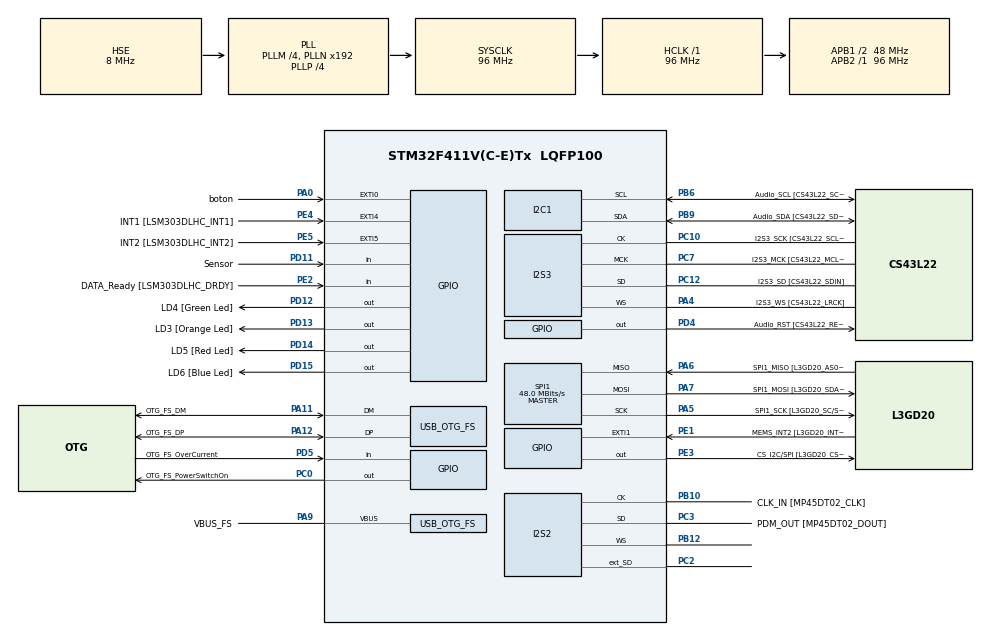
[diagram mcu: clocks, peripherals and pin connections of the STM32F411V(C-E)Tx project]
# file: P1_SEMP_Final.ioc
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I2S2.AudioFreq=I2S_AUDIOFREQ_96K
I2S2.ErrorAudioFreq=0.15 %
I2S2.FullDuplexMode=I2S_FULLDUPLEXMODE_ENABLE
I2S2.Instance=SPI$Index
I2S2.RealAudioFreq=96.153 KHz
I2S2.VirtualMode=I2S_MODE_MASTER
I2S3.AudioFreq=I2S_AUDIOFREQ_96K
I2S3.ErrorAudioFreq=-6.99 %
I2S3.FullDuplexMode=I2S_FULLDUPLEXMODE_DISABLE
I2S3.Instance=SPI$Index
I2S3.RealAudioFreq=89.285 KHz
I2S3.VirtualMode=I2S_MODE_MASTER
Mcu.Family=STM32F4
Mcu.Name=STM32F411V(C-E)Tx
Mcu.Package=LQFP100
NVIC.EXTI0_IRQn=true\:0\:0\:false\:false\:true\:true\:true\:true
NVIC.OTG_FS_IRQn=true\:0\:0\:false\:false\:true\:true\:true\:true
NVIC.PVD_IRQn=true\:0\:0\:false\:false\:true\:true\:true\:true
NVIC.PriorityGroup=NVIC_PRIORITYGROUP_0
NVIC.TIM2_IRQn=true\:0\:0\:false\:false\:true\:true\:true\:true
NVIC.TIM3_IRQn=true\:0\:0\:false\:false\:true\:true\:true\:true
PA0-WKUP.GPIO_Label=boton
PA0-WKUP.Signal=GPXTI0
PA10.GPIO_Label=OTG_FS_ID
PA10.Signal=USB_OTG_FS_ID
PA11.GPIO_Label=OTG_FS_DM
PA11.Mode=Host_Only
PA11.Signal=USB_OTG_FS_DM
PA12.GPIO_Label=OTG_FS_DP
PA12.Mode=Host_Only
PA12.Signal=USB_OTG_FS_DP
PA13.GPIO_Label=SWDIO
PA13.Mode=Serial_Wire
PA13.Signal=SYS_JTMS-SWDIO
PA14.GPIO_Label=SWCLK
PA14.Mode=Serial_Wire
PA14.Signal=SYS_JTCK-SWCLK
PA4.GPIO_Label=I2S3_WS [CS43L22_LRCK]
PA4.GPIO_Mode=GPIO_MODE_AF_PP
PA4.GPIO_PuPd=GPIO_NOPULL
PA4.GPIO_Speed=GPIO_SPEED_FREQ_LOW
PA4.Mode=Half_Duplex_Master
PA4.Signal=I2S3_WS
PA5.GPIO_Label=SPI1_SCK [L3GD20_SC/SPC]
PA5.Mode=Full_Duplex_Master
PA5.Signal=SPI1_SCK
PA6.GPIO_Label=SPI1_MISO [L3GD20_AS0/SDO]
PA6.Mode=Full_Duplex_Master
PA6.Signal=SPI1_MISO
PA7.GPIO_Label=SPI1_MOSI [L3GD20_SDA/SDI/SDO]
PA7.Mode=Full_Duplex_Master
PA7.Signal=SPI1_MOSI
PA9.GPIO_Label=VBUS_FS
PA9.Mode=Activate_VBUS
PA9.Signal=USB_OTG_FS_VBUS
PB10.GPIO_Label=CLK_IN [MP45DT02_CLK]
PB10.Mode=Full_Duplex_Master
PB10.Signal=I2S2_CK
PB12.Mode=Full_Duplex_Master
PB12.Signal=I2S2_WS
PB3.GPIO_Label=SWO
PB3.Signal=SYS_JTDO-SWO
PB6.GPIO_Label=Audio_SCL [CS43L22_SCL]
PB6.GPIO_Mode=GPIO_MODE_AF_OD
PB6.GPIO_Pu=GPIO_PULLUP
PB6.GPIO_PuPd=GPIO_NOPULL
PB6.GPIO_Speed=GPIO_SPEED_FREQ_LOW
PB6.Mode=I2C
PB6.Signal=I2C1_SCL
PB9.GPIO_Label=Audio_SDA [CS43L22_SDA]
PB9.GPIO_Mode=GPIO_MODE_AF_OD
PB9.GPIO_Pu=GPIO_PULLUP
PB9.GPIO_PuPd=GPIO_NOPULL
PB9.GPIO_Speed=GPIO_SPEED_FREQ_LOW
PB9.Mode=I2C
PB9.Signal=I2C1_SDA
PC0.GPIO_Label=OTG_FS_PowerSwitchOn
PC0.PinState=GPIO_PIN_SET
PC0.Signal=GPIO_Output
PC10.GPIO_Label=I2S3_SCK [CS43L22_SCLK]
PC10.GPIO_Mode=GPIO_MODE_AF_PP
PC10.GPIO_PuPd=GPIO_NOPULL
PC10.GPIO_Speed=GPIO_SPEED_FREQ_LOW
PC10.Mode=Half_Duplex_Master
PC10.Signal=I2S3_CK
PC12.GPIO_Label=I2S3_SD [CS43L22_SDIN]
PC12.GPIO_Mode=GPIO_MODE_AF_PP
PC12.GPIO_PuPd=GPIO_NOPULL
PC12.GPIO_Speed=GPIO_SPEED_FREQ_LOW
PC12.Mode=Half_Duplex_Master
PC12.Signal=I2S3_SD
PC14-OSC32_IN.GPIO_Label=PC14-OSC32_IN
PC14-OSC32_IN.Mode=LSE-External-Oscillator
PC14-OSC32_IN.Signal=RCC_OSC32_IN
PC15-OSC32_OUT.GPIO_Label=PC15-OSC32_OUT
PC15-OSC32_OUT.Mode=LSE-External-Oscillator
PC15-OSC32_OUT.Signal=RCC_OSC32_OUT
PC2.Mode=Full_Duplex_Master
PC2.Signal=I2S2_ext_SD
PC3.GPIO_Label=PDM_OUT [MP45DT02_DOUT]
PC3.Mode=Full_Duplex_Master
PC3.Signal=I2S2_SD
PC7.GPIO_Label=I2S3_MCK [CS43L22_MCLK]
PC7.GPIO_Mode=GPIO_MODE_AF_PP
PC7.GPIO_PuPd=GPIO_NOPULL
PC7.GPIO_Speed=GPIO_SPEED_FREQ_LOW
PC7.Mode=Master_Clock_Activated
PC7.Signal=I2S3_MCK
PD11.GPIO_Label=Sensor
PD11.Signal=GPIO_Input
PD12.GPIO_Label=LD4 [Green Led]
PD12.GPIO_PuPd=GPIO_NOPULL
PD12.GPIO_Speed=GPIO_SPEED_FREQ_LOW
PD12.Signal=GPIO_Output
PD13.GPIO_Label=LD3 [Orange Led]
PD13.GPIO_PuPd=GPIO_NOPULL
PD13.GPIO_Speed=GPIO_SPEED_FREQ_LOW
PD13.Signal=GPIO_Output
PD14.GPIO_Label=LD5 [Red Led]
PD14.GPIO_PuPd=GPIO_NOPULL
PD14.GPIO_Speed=GPIO_SPEED_FREQ_LOW
PD14.Signal=GPIO_Output
PD15.GPIO_Label=LD6 [Blue Led]
PD15.GPIO_PuPd=GPIO_NOPULL
PD15.GPIO_Speed=GPIO_SPEED_FREQ_LOW
PD15.Signal=GPIO_Output
PD4.GPIO_Label=Audio_RST [CS43L22_RESET]
PD4.Signal=GPIO_Output
PD5.GPIO_Label=OTG_FS_OverCurrent
PD5.Signal=GPIO_Input
PE1.GPIO_Label=MEMS_INT2 [L3GD20_INT2]
PE1.GPIO_ModeDefaultEXTI=GPIO_MODE_EVT_RISING
PE1.Signal=GPXTI1
PE2.GPIO_Label=DATA_Ready [LSM303DLHC_DRDY]
PE2.Signal=GPIO_Input
PE3.GPIO_Label=CS_I2C/SPI [L3GD20_CS_I2C/SPI]
PE3.Signal=GPIO_Output
PE4.GPIO_Label=INT1 [LSM303DLHC_INT1]
PE4.GPIO_ModeDefaultEXTI=GPIO_MODE_EVT_RISING
PE4.Signal=GPXTI4
PE5.GPIO_Label=INT2 [LSM303DLHC_INT2]
PE5.GPIO_ModeDefaultEXTI=GPIO_MODE_EVT_RISING
PE5.Signal=GPXTI5
PH0\ -\ OSC_IN.GPIO_Label=PH0-OSC_IN
PH0\ -\ OSC_IN.Mode=HSE-External-Oscillator
PH0\ -\ OSC_IN.Signal=RCC_OSC_IN
PH1\ -\ OSC_OUT.GPIO_Label=PH1-OSC_OUT
PH1\ -\ OSC_OUT.Mode=HSE-External-Oscillator
PH1\ -\ OSC_OUT.Signal=RCC_OSC_OUT
ProjectManager.HeapSize=0x200
ProjectManager.StackSize=0x400
ProjectManager.TargetToolchain=STM32CubeIDE
RCC.48MHZClocksFreq_Value=48000000
RCC.AHBFreq_Value=96000000
RCC.APB1CLKDivider=RCC_HCLK_DIV2
RCC.APB1Freq_Value=48000000
RCC.APB1TimFreq_Value=96000000
RCC.APB2Freq_Value=96000000
RCC.APB2TimFreq_Value=96000000
RCC.CortexFreq_Value=96000000
RCC.HCLKFreq_Value=96000000
RCC.HSE_Timout=1000
RCC.HSE_VALUE=8000000
RCC.HSI_VALUE=16000000
RCC.PLLI2SM=5
RCC.PLLI2SN=200
RCC.PLLM=4
RCC.PLLP=RCC_PLLP_DIV4
RCC.PLLQ=8
RCC.SYSCLKFreq_VALUE=96000000
RCC.SYSCLKSource=RCC_SYSCLKSOURCE_PLLCLK
RCC.VCOOutputFreq_Value=384000000
SPI1.BaudRatePrescaler=SPI_BAUDRATEPRESCALER_2
SPI1.CalculateBaudRate=48.0 MBits/s
SPI1.Direction=SPI_DIRECTION_2LINES
SPI1.Mode=SPI_MODE_MASTER
SPI1.VirtualType=VM_MASTER
TIM2.Period=5000
TIM2.Prescaler=9600-1
TIM3.Period=10000
TIM3.Prescaler=9599
USB_HOST.BSP.number=1
USB_HOST.USBH_HandleTypeDef=hUsbHostFS
USB_HOST.VirtualModeFS=Cdc
USB_HOST0.BSP.STBoard=false
USB_HOST0.BSP.api=Unknown
USB_HOST0.BSP.instance=PC0
USB_HOST0.BSP.ip=GPIO
USB_HOST0.BSP.mode=Output
USB_HOST0.BSP.name=Drive_VBUS_FS
USB_HOST0.BSP.solution=PC0
USB_OTG_FS.VirtualMode=Host_Only
USB_OTG_FS.phy_itface=HCD_PHY_EMBEDDED
VP_TIM2_VS_ClockSourceINT.Mode=Internal
VP_TIM3_VS_ClockSourceINT.Mode=Internal
VP_USB_HOST_VS_USB_HOST_CDC_FS.Mode=CDC_FS
board=STM32F411E-DISCO

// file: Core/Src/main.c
/* USER CODE BEGIN Header */
/**
  ******************************************************************************
  * @file           : main.c
  * @brief          : Main program body
  ******************************************************************************
  * @attention
  *
  * Copyright (c) 2023 STMicroelectronics.
  * All rights reserved.
  *
  * This software is licensed under terms that can be found in the LICENSE file
  * in the root directory of this software component.
  * If no LICENSE file comes with this software, it is provided AS-IS.
  *
  ******************************************************************************
  */
/* USER CODE END Header */
#include "main.h"
#include "i2c.h"
#include "i2s.h"
#include "spi.h"
#include "tim.h"
#include "usb_host.h"
#include "gpio.h"

/* USER CODE BEGIN Includes */
#include "fsm.h"
/* USER CODE END Includes */

/* USER CODE BEGIN PV */
//bool boton como?
volatile int boton = 0;
volatile int sensor = 0;
volatile int tiempo_t2 = 0;
volatile int tiempo_t1 = 0;
static int muestras = 0;
static int movimientos = 0;
//salidas
/*static int stop = 0;
static int walking = 0;
static int warning = 0;*/
//static fsm_t * muestreoP1_fsm;
//static fsm_t * P1_fsm;

/* USER CODE END PV */

void SystemClock_Config(void);
void PeriphCommonClock_Config(void);
void MX_USB_HOST_Process(void);

/* USER CODE BEGIN PFP */
static int boton_sin_pulsar (fsm_t* this);
static int boton_pulsado (fsm_t* this);
static int empieza_muestras (fsm_t* this);
//static int empieza_movimiento (fsm_t* this);
static int boton_espera (fsm_t* this);
static int esta_parado (fsm_t* this);
static int esta_andando (fsm_t* this);
static int esta_aviso (fsm_t* this);
static void funcion_muestreo (fsm_t* this);
static void funcion_terminar (fsm_t* this);
static void funcion_andando (fsm_t* this);
static void funcion_aviso (fsm_t* this);
static void funcion_parado (fsm_t* this);
/* USER CODE END PFP */

/* USER CODE BEGIN 0 */
enum muestreoP1_state {
  IDLE,
  MUESTREO,
  TERMINAR,
};

enum P1_state {
  IDLE2,
  PARADO,
  ANDANDO,
  AVISO,
};

static int boton_sin_pulsar (fsm_t* this) //boton a false
{
	/*if(HAL_GPIO_ReadPin(GPIOA,GPIO_PIN_0)==0) //boton a false
		{
			return 1;
		}
		return 0;*/
	if (boton == 0)
	{
		return 1;
	}
	return 0;
	//return !boton;
}
static int boton_pulsado (fsm_t* this) //boton a true
{
	/*if(HAL_GPIO_ReadPin(GPIOA,GPIO_PIN_0)==1) //boton a true
		{
			return 1;
		}
		return 0;*/
	if (boton == 1)
	{
		return 1;
	}
	return 0;
}

static int empieza_muestras (fsm_t* this)
{
	if (tiempo_t1 == 1 && boton == 0)
	{
		HAL_GPIO_TogglePin(GPIOD,GPIO_PIN_15); //Led azul
		muestras++;
		tiempo_t1=0;
		if((HAL_GPIO_ReadPin(GPIOD,GPIO_PIN_11)==1))
		{
			movimientos++;
			tiempo_t1=0;

		}
		return 0;
		if(muestras>=20)
		{
			return 1;
		}

	}
}

	/*if(HAL_GPIO_ReadPin(GPIOA,GPIO_PIN_0)==0) //boton a false
	{
		muestras++;
		return 1;
	}
	return 0;
	*/
	/*if (boton==0)
	{
		//HAL_TIM_Base_Start_IT(&htim1);// para inicializar el timer? lo hace solo

		if(HAL_GPIO_ReadPin(GPIOE,GPIO_PIN_9)==1) //timer 1 (1 segundo)
			{
				 // contador de las muestras
				//HAL_GPIO_TogglePin(GPIOD,GPIO_PIN_15); // led azul
					muestras++;
					return 1;

			}
	}*/

/*static int empieza_movimiento (fsm_t* this)
{
	if (tiempo_t1 == 1 && boton == 0)
	{
		if((HAL_GPIO_ReadPin(GPIOD,GPIO_PIN_11)==1))
		{
			HAL_GPIO_TogglePin(GPIOD,GPIO_PIN_15); //Led azul
			movimientos++;
			tiempo_t1=0;
			return 1;
		}
	}
	return 0;*/

	/*if((HAL_GPIO_ReadPin(GPIOA,GPIO_PIN_0)==0) && (HAL_GPIO_ReadPin(GPIOD,GPIO_PIN_11)==1)) //boton a false y sensor a 1
		{
			movimientos++;
			return 1;
		}
		return 0;*/

	/*if (boton==0)
	{

		if(sensor == 1 && HAL_GPIO_ReadPin(GPIOE,GPIO_PIN_9)==1) //timer 1 (1 segundo) y sensor activo
		{
			movimientos++;// contador de los movimientos
			HAL_GPIO_TogglePin(GPIOD,GPIO_PIN_15); // led azul
			return 1;

		}

	}
	return 0;*/

static int esta_parado (fsm_t* this)
{
  if ((muestras>=20)&&(movimientos<4))
  {
	  return 1;
  }
  else
  {
	  return 0;
  }
}

static int esta_andando (fsm_t* this)
{
	if ((muestras>=20)&&(movimientos>4))
	{
	  return 1;
	}
	else
	{
	  return 0;
	}
}

static int esta_aviso (fsm_t* this)
{
  if ((muestras>=20)&&(movimientos<=4))
  {
	 return 1;
  }
  else
  {
	 return 0;
  }
}
static void funcion_muestreo (fsm_t* this)
{
  boton=0;
  muestras=0;
  movimientos=0;
  HAL_TIM_Base_Start_IT(&htim3);
  HAL_TIM_Base_Start_IT(&htim2);

}
/*static void funcion_espera (fsm_t* this)
{
	if(boton==0)
	{
		HAL_TIM_Base_Start_IT(&htim2);
		return 1;
	}
	return 0;
	//HAL_TIM_Base_Start_IT(&htim2);
	//HAL_GPIO_ReadPin(GPIOA,GPIO_PIN_15)=1;
}*/
static int boton_espera (fsm_t* this)
{
	if (boton==0 && tiempo_t2==1) //500ms pasados
	{
		return 1;
		tiempo_t2=0;

		/*if(HAL_GPIO_ReadPin(GPIOA,GPIO_PIN_15)==1) //timer 2 (500 ms)
		{
			return 1;

		}*/
	}
	return 0;
}

static void funcion_terminar (fsm_t* this)
{
	  HAL_TIM_Base_Stop_IT(&htim3);//timer 1 zero
	  HAL_TIM_Base_Stop_IT(&htim2); //timer 2 a zero
	  muestras=0;
	  movimientos=0;
	  boton=0;
	  HAL_GPIO_WritePin(GPIOD, (uint16_t) LD6_Pin,0); //Led azul off
	  HAL_GPIO_WritePin(GPIOD, (uint16_t) LD5_Pin,0); //Led rojo off
	  HAL_GPIO_WritePin(GPIOD, (uint16_t) LD4_Pin,0); //Led verde off
	  HAL_GPIO_WritePin(GPIOD, (uint16_t) LD3_Pin,0); //Led naranja off
}

static void funcion_andando (fsm_t* this)
{
	HAL_GPIO_WritePin(GPIOD,(uint16_t) LD3_Pin,1); //Led naranja on
	HAL_GPIO_WritePin(GPIOD,(uint16_t) LD5_Pin,0); //Led rojo off
	HAL_GPIO_WritePin(GPIOD,(uint16_t) LD4_Pin,0); //Led verde off
	muestras=0;
	movimientos=0;
	/*stop = 0;
	walking = 1;
	warning = 0;*/

}
static void funcion_aviso (fsm_t* this)
{
	HAL_GPIO_WritePin(GPIOD,(uint16_t) LD5_Pin,1); //Led rojo on
	HAL_GPIO_WritePin(GPIOD,(uint16_t) LD3_Pin,0); //Led naranja off
	HAL_GPIO_WritePin(GPIOD,(uint16_t) LD4_Pin,0); //Led verde off
	muestras=0;
	movimientos=0;
	/*stop = 0;
	walking = 0;
	warning = 1;*/
}
static void funcion_parado (fsm_t* this)
{
	HAL_GPIO_WritePin(GPIOD,(uint16_t) LD4_Pin,1); //Led verde on
	HAL_GPIO_WritePin(GPIOD,(uint16_t) LD3_Pin,0); //Led naranja off
	HAL_GPIO_WritePin(GPIOD,(uint16_t) LD5_Pin,0); //Led rojo off
	muestras=0;
	movimientos=0;
	/*stop = 1;
	walking = 0;
	warning = 0;*/
}

static fsm_trans_t muestreoP1[] = {
	{ IDLE,   	boton_sin_pulsar, 				MUESTREO,  	funcion_muestreo },
	{ MUESTREO, empieza_muestras, 				MUESTREO,  	funcion_muestreo },
	//{ MUESTREO, empieza_movimiento, 			MUESTREO,  	funcion_muestreo },
	{ MUESTREO, boton_pulsado, 					TERMINAR,  	funcion_terminar},
	{ TERMINAR, boton_espera, 					TERMINAR, 	funcion_terminar},
	{ TERMINAR, boton_pulsado, 					MUESTREO,  	funcion_muestreo },
	{-1, NULL, -1, NULL },
	};

static fsm_trans_t P1[] = {
    { IDLE2,    esta_parado, 	PARADO,  funcion_parado },
	{ PARADO,   esta_andando, 	ANDANDO, funcion_andando },
	{ ANDANDO,  esta_aviso, 	AVISO,   funcion_aviso },
	{ AVISO,   	esta_parado, 	PARADO,  funcion_parado },
	//{ PARADO,   esta_aviso, 	AVISO,   funcion_aviso },
	{ AVISO,   	esta_andando, 	ANDANDO, funcion_andando },
    //{ ANDANDO,  esta_parado, 	PARADO,  funcion_parado },
	{-1, NULL, -1, NULL },
	};
/* USER CODE END 0 */

int main(void)
{
  /* USER CODE BEGIN 1 */
	fsm_t * muestreoP1_fsm = fsm_new (muestreoP1);
  	fsm_t * P1_fsm = fsm_new (P1);
  /* USER CODE END 1 */

  /* MCU Configuration--------------------------------------------------------*/

  /* Reset of all peripherals, Initializes the Flash interface and the Systick. */
  HAL_Init();

  /* Configure the system clock */
  SystemClock_Config();

/* Configure the peripherals common clocks */
  PeriphCommonClock_Config();

  /* Initialize all configured peripherals */
  MX_GPIO_Init();
  MX_I2C1_Init();
  MX_I2S2_Init();
  MX_I2S3_Init();
  MX_SPI1_Init();
  MX_USB_HOST_Init();
  MX_TIM2_Init();
  MX_TIM3_Init();
  /* USER CODE BEGIN 2 */
  	/*HAL_TIM_Base_Start_IT(&htim1);
  	HAL_TIM_Base_Start_IT(&htim2);
  	muestreoP1_fsm = fsm_new (muestreoP1);
  	P1_fsm = fsm_new (P1);*/

  //timer_val= _HAL_TIM_GET_COUNTER(&htim1); //Get current time
  /* USER CODE END 2 */

  /* Infinite loop */
  /* USER CODE BEGIN WHILE */
  while (1)
  {
	fsm_fire (muestreoP1_fsm);
   	fsm_fire (P1_fsm);
    /* USER CODE END WHILE */
    MX_USB_HOST_Process();

    /* USER CODE BEGIN 3 */

    /*    if (HAL_GPIO_ReadPin(GPIOA,GPIO_PIN_0) == GPIO_PIN_SET) //boton a true
        {
    		timer_val=0;
    		 if (_HAL_TIM_GET_COUNTER(&htim1) - timer_val >= 5000)  // 0.5 segundo
    		        	 {
    		        		 //timer_val= _HAL_TIM_GET_COUNTER(&htim1);
    		        		 terminar();
    		        	 }
        }
    else (_HAL_TIM_GET_COUNTER(&htim1) - timer_val >= 10000)  // 1 segundo
        {
        	timer_val= _HAL_TIM_GET_COUNTER(&htim1);
        	HAL_GPIO_TogglePin(GPIOD,GPIO_PIN_15); // led azul
        	muestreo();
        }
*/
  }

  /* USER CODE END 3 */
}

void SystemClock_Config(void)
{
  RCC_OscInitTypeDef RCC_OscInitStruct = {0};
  RCC_ClkInitTypeDef RCC_ClkInitStruct = {0};

  /** Configure the main internal regulator output voltage
  */
  __HAL_RCC_PWR_CLK_ENABLE();
  __HAL_PWR_VOLTAGESCALING_CONFIG(PWR_REGULATOR_VOLTAGE_SCALE1);

  /** Initializes the RCC Oscillators according to the specified parameters
  * in the RCC_OscInitTypeDef structure.
  */
  RCC_OscInitStruct.OscillatorType = RCC_OSCILLATORTYPE_HSE;
  RCC_OscInitStruct.HSEState = RCC_HSE_ON;
  RCC_OscInitStruct.PLL.PLLState = RCC_PLL_ON;
  RCC_OscInitStruct.PLL.PLLSource = RCC_PLLSOURCE_HSE;
  RCC_OscInitStruct.PLL.PLLM = 4;
  RCC_OscInitStruct.PLL.PLLN = 192;
  RCC_OscInitStruct.PLL.PLLP = RCC_PLLP_DIV4;
  RCC_OscInitStruct.PLL.PLLQ = 8;
  if (HAL_RCC_OscConfig(&RCC_OscInitStruct) != HAL_OK)
  {
    Error_Handler();
  }

  /** Initializes the CPU, AHB and APB buses clocks
  */
  RCC_ClkInitStruct.ClockType = RCC_CLOCKTYPE_HCLK|RCC_CLOCKTYPE_SYSCLK
                              |RCC_CLOCKTYPE_PCLK1|RCC_CLOCKTYPE_PCLK2;
  RCC_ClkInitStruct.SYSCLKSource = RCC_SYSCLKSOURCE_PLLCLK;
  RCC_ClkInitStruct.AHBCLKDivider = RCC_SYSCLK_DIV1;
  RCC_ClkInitStruct.APB1CLKDivider = RCC_HCLK_DIV2;
  RCC_ClkInitStruct.APB2CLKDivider = RCC_HCLK_DIV1;

  if (HAL_RCC_ClockConfig(&RCC_ClkInitStruct, FLASH_LATENCY_3) != HAL_OK)
  {
    Error_Handler();
  }
}

void PeriphCommonClock_Config(void)
{
  RCC_PeriphCLKInitTypeDef PeriphClkInitStruct = {0};

  /** Initializes the peripherals clock
  */
  PeriphClkInitStruct.PeriphClockSelection = RCC_PERIPHCLK_I2S;
  PeriphClkInitStruct.PLLI2S.PLLI2SN = 200;
  PeriphClkInitStruct.PLLI2S.PLLI2SM = 5;
  PeriphClkInitStruct.PLLI2S.PLLI2SR = 2;
  if (HAL_RCCEx_PeriphCLKConfig(&PeriphClkInitStruct) != HAL_OK)
  {
    Error_Handler();
  }
}

/* USER CODE BEGIN 4 */
void HAL_TIM_PeriodElapsedCallback(TIM_HandleTypeDef *htim)
{
	if(htim == &htim3)
	{
		tiempo_t1=1; //1s cumplido

		//HAL_GPIO_TogglePin(GPIOD,GPIO_PIN_15); //LED AZUL
		//empieza_muestras(muestreoP1_fsm);
	}
	if(htim == &htim2)
	{
		tiempo_t2=1; //500ms se han cumplido
	}
		/*if(HAL_GPIO_ReadPin(GPIOA,GPIO_PIN_0)==1) //boton a true pasa el tiempo y a terminar
		{
			terminar(muestreoP1_fsm);

		}
		else // boton a false pasa el tiempo y vuele a muestras
		{
			empieza_muestras(muestreoP1_fsm);
		}*/

}
void HAL_GPIO_EXTI_Callback(uint16_t GPIO_Pin) // para el boton interrupciones
{
  if(GPIO_Pin == GPIO_PIN_0)
  {
	  boton=1;
	  /*if(HAL_GPIO_ReadPin(GPIOA,GPIO_PIN_0)==1) //boton a true
	  {
		  funcion_espera(muestreoP1_fsm);
		  //HAL_TIM_Base_Start_IT(&htim2);

	  }
	  else
	  {
		  funcion_espera(muestreoP1_fsm);
		  //HAL_TIM_Base_Start_IT(&htim2);
	  }*/

  }
}
/* USER CODE END 4 */

void Error_Handler(void)
{
  __disable_irq();
  while (1)
  {
  }
}
